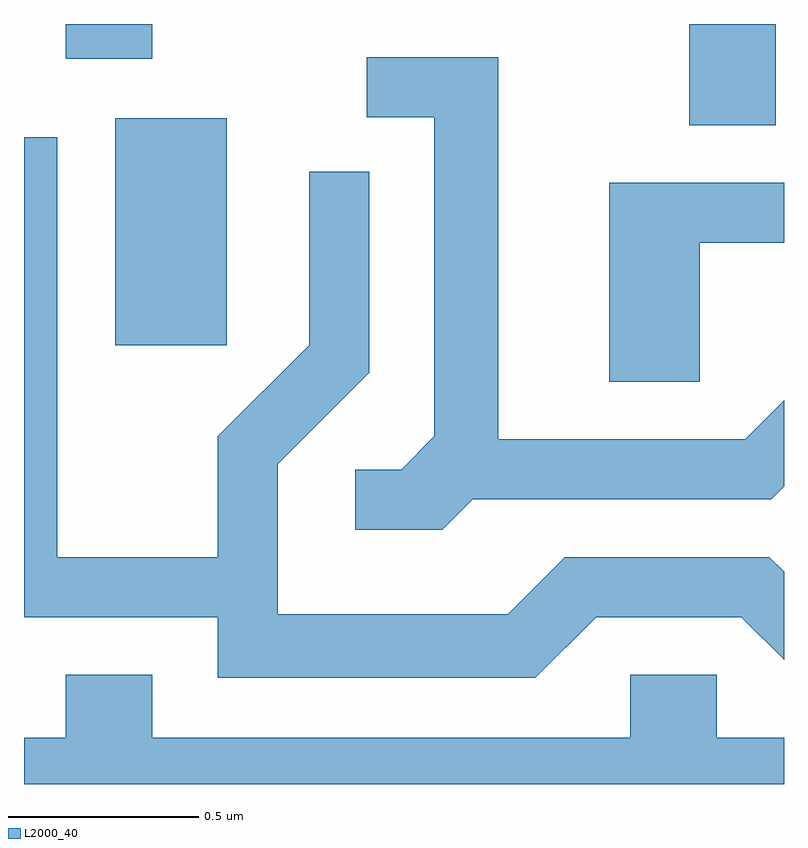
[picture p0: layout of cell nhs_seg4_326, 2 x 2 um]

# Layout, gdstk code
import gdstk
lib = gdstk.Library(unit=1e-6, precision=1e-09)
def R(c, l, rs):  # rectangles x0, y0, x1, y1
    for r in rs: c.add(gdstk.rectangle(r[:2], r[2:], *l))
def P(c, l, *ps):  # polygons
    for p in ps: c.add(gdstk.Polygon(p, *l))
L2000_40 = (2000, 40)

nhs_seg4_326 = lib.new_cell('nhs_seg4_326')
R(nhs_seg4_326, L2000_40, [(187.851,1307.136,188.144,1307.734), (189.361,1307.716,189.589,1307.982), (187.721,1307.891,187.949,1307.982)])
P(nhs_seg4_326, L2000_40, [(188.792,1306.731),(189.577,1306.731),(189.611,1306.765),(189.611,1306.992),(189.509,1306.889),(188.859,1306.889),(188.859,1307.894),(188.513,1307.894),(188.513,1307.736),(188.691,1307.736),(188.691,1306.897),(188.604,1306.809),(188.483,1306.809),(188.483,1306.651),(188.712,1306.651)],
  [(189.117,1306.421),(189.499,1306.421),(189.611,1306.309),(189.611,1306.54),(189.572,1306.579),(189.034,1306.579),(188.884,1306.429),(188.279,1306.429),(188.279,1306.824),(188.519,1307.064),(188.519,1307.593),(188.361,1307.593),(188.361,1307.137),(188.121,1306.897),(188.121,1306.579),(187.699,1306.579),(187.699,1307.684),(187.611,1307.684),(187.611,1306.421),(188.121,1306.421),(188.121,1306.261),(188.957,1306.261)],
  [(189.389,1307.406),(189.611,1307.406),(189.611,1307.564),(189.151,1307.564),(189.151,1307.041),(189.389,1307.041)],
  [(189.611,1306.104),(189.434,1306.104),(189.434,1306.269),(189.206,1306.269),(189.206,1306.104),(187.949,1306.104),(187.949,1306.269),(187.721,1306.269),(187.721,1306.104),(187.611,1306.104),(187.611,1305.982),(189.611,1305.982)])

lib.write_gds('nhs_seg4_326.gds')
